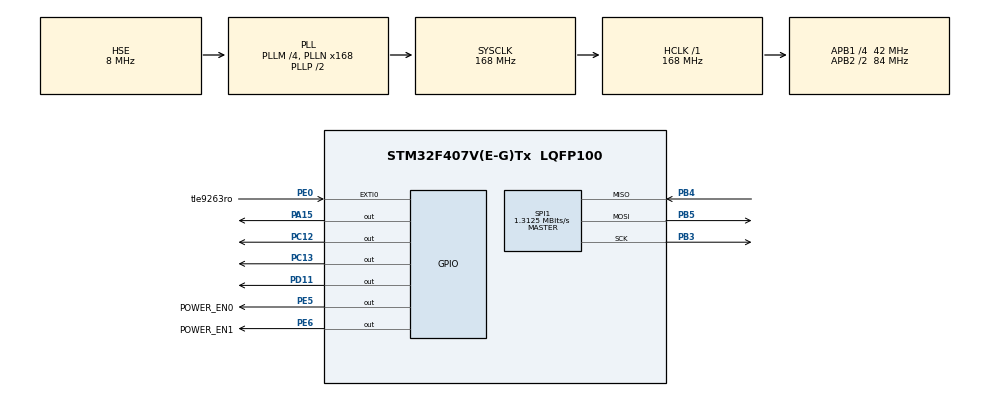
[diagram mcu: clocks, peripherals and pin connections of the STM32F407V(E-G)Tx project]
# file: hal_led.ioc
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Mcu.Family=STM32F4
Mcu.Name=STM32F407V(E-G)Tx
Mcu.Package=LQFP100
NVIC.PriorityGroup=NVIC_PRIORITYGROUP_4
PA13.Mode=Serial_Wire
PA13.Signal=SYS_JTMS-SWDIO
PA14.Mode=Serial_Wire
PA14.Signal=SYS_JTCK-SWCLK
PA15.Signal=GPIO_Output
PB3.Mode=Full_Duplex_Master
PB3.Signal=SPI1_SCK
PB4.Mode=Full_Duplex_Master
PB4.Signal=SPI1_MISO
PB5.Mode=Full_Duplex_Master
PB5.Signal=SPI1_MOSI
PC12.Signal=GPIO_Output
PC13-ANTI_TAMP.Signal=GPIO_Output
PC14-OSC32_IN.Mode=LSE-External-Oscillator
PC14-OSC32_IN.Signal=RCC_OSC32_IN
PC15-OSC32_OUT.Mode=LSE-External-Oscillator
PC15-OSC32_OUT.Signal=RCC_OSC32_OUT
PD11.Signal=GPIO_Output
PE0.GPIO_Label=tle9263ro
PE0.GPIO_ModeDefaultEXTI=GPIO_MODE_IT_FALLING
PE0.Signal=GPXTI0
PE5.GPIO_Label=POWER_EN0
PE5.Signal=GPIO_Output
PE6.GPIO_Label=POWER_EN1
PE6.Signal=GPIO_Output
PH0-OSC_IN.Mode=HSE-External-Oscillator
PH0-OSC_IN.Signal=RCC_OSC_IN
PH1-OSC_OUT.Mode=HSE-External-Oscillator
PH1-OSC_OUT.Signal=RCC_OSC_OUT
ProjectManager.HeapSize=0x200
ProjectManager.StackSize=0x400
ProjectManager.TargetToolchain=MDK-ARM V5.32
RCC.48MHZClocksFreq_Value=84000000
RCC.AHBFreq_Value=168000000
RCC.APB1CLKDivider=RCC_HCLK_DIV4
RCC.APB1Freq_Value=42000000
RCC.APB1TimFreq_Value=84000000
RCC.APB2CLKDivider=RCC_HCLK_DIV2
RCC.APB2Freq_Value=84000000
RCC.APB2TimFreq_Value=168000000
RCC.CortexFreq_Value=168000000
RCC.HCLKFreq_Value=168000000
RCC.HSE_VALUE=8000000
RCC.HSI_VALUE=16000000
RCC.PLLM=4
RCC.PLLN=168
RCC.PLLSourceVirtual=RCC_PLLSOURCE_HSE
RCC.SYSCLKFreq_VALUE=168000000
RCC.SYSCLKSource=RCC_SYSCLKSOURCE_PLLCLK
RCC.VCOOutputFreq_Value=336000000
SPI1.BaudRatePrescaler=SPI_BAUDRATEPRESCALER_64
SPI1.CLKPhase=SPI_PHASE_2EDGE
SPI1.CalculateBaudRate=1.3125 MBits/s
SPI1.DataSize=SPI_DATASIZE_16BIT
SPI1.Direction=SPI_DIRECTION_2LINES
SPI1.FirstBit=SPI_FIRSTBIT_LSB
SPI1.Mode=SPI_MODE_MASTER
SPI1.VirtualType=VM_MASTER
board=custom

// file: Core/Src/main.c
/* USER CODE BEGIN Header */
/**
  ******************************************************************************
  * @file           : main.c
  * @brief          : Main program body
  ******************************************************************************
  * @attention
  *
  * Copyright (c) 2025 STMicroelectronics.
  * All rights reserved.
  *
  * This software is licensed under terms that can be found in the LICENSE file
  * in the root directory of this software component.
  * If no LICENSE file comes with this software, it is provided AS-IS.
  *
  ******************************************************************************
  */
/* USER CODE END Header */
#include "main.h"
#include "spi.h"
#include "gpio.h"
#include"TLE926x.h"
#include <stdbool.h>

/* USER CODE BEGIN PV */
bool irqSBC = false;
/* USER CODE END PV */

void SystemClock_Config(void);

/* USER CODE BEGIN 0 */
void irqSBC_Handler()
{
  irqSBC = true ;
}
/* USER CODE END 0 */

int main(void)
{

  /* MCU Configuration--------------------------------------------------------*/

  /* Reset of all peripherals, Initializes the Flash interface and the Systick. */
  HAL_Init();

  /* Configure the system clock */
  SystemClock_Config();

  /* Initialize all configured peripherals */
  MX_GPIO_Init();
  MX_SPI1_Init();

  /* Infinite loop */
  /* USER CODE BEGIN WHILE */

  if (sbc_init().flippedBitsMask != 0) {
    HAL_GPIO_WritePin(GPIOC, GPIO_PIN_13, GPIO_PIN_SET);//LED off
  } else {
    HAL_GPIO_WritePin(GPIOC, GPIO_PIN_13, GPIO_PIN_RESET);//LED on
	HAL_Delay(2000);
  }

  HAL_GPIO_WritePin(GPIOC, GPIO_PIN_12, GPIO_PIN_SET);//GPIO_PIN_RESET  low
  sbc_configure_watchdog(TIME_OUT_WD, WD_STARTS_AFTER_CAN_LIN_WAKE, WD_200MS);
  HAL_GPIO_WritePin(GPIOD, GPIO_PIN_11, GPIO_PIN_SET);//jidianqi
  HAL_GPIO_WritePin(GPIOE, POWER_EN0_Pin,GPIO_PIN_SET );//jidianqi
  HAL_GPIO_WritePin(GPIOE, POWER_EN1_Pin,GPIO_PIN_SET );//jidianqi
  while (1)
  {
  HAL_GPIO_TogglePin(GPIOC, GPIO_PIN_13);//led
  HAL_GPIO_TogglePin(GPIOD, GPIO_PIN_11);//jidianqi
  sbc_wd_trigger();
  HAL_Delay(1000);

   /* Handle SBC_ISR() if INTN was toggeled */
//  if (irqSBC) {
//    SBC_ISR();
//    irqSBC = false;
//  }

    /* USER CODE END WHILE */

  }
}

void SystemClock_Config(void)
{
  RCC_OscInitTypeDef RCC_OscInitStruct = {0};
  RCC_ClkInitTypeDef RCC_ClkInitStruct = {0};

  /** Configure the main internal regulator output voltage
  */
  __HAL_RCC_PWR_CLK_ENABLE();
  __HAL_PWR_VOLTAGESCALING_CONFIG(PWR_REGULATOR_VOLTAGE_SCALE1);

  /** Initializes the RCC Oscillators according to the specified parameters
  * in the RCC_OscInitTypeDef structure.
  */
  RCC_OscInitStruct.OscillatorType = RCC_OSCILLATORTYPE_HSE;
  RCC_OscInitStruct.HSEState = RCC_HSE_ON;
  RCC_OscInitStruct.PLL.PLLState = RCC_PLL_ON;
  RCC_OscInitStruct.PLL.PLLSource = RCC_PLLSOURCE_HSE;
  RCC_OscInitStruct.PLL.PLLM = 4;
  RCC_OscInitStruct.PLL.PLLN = 168;
  RCC_OscInitStruct.PLL.PLLP = RCC_PLLP_DIV2;
  RCC_OscInitStruct.PLL.PLLQ = 4;
  if (HAL_RCC_OscConfig(&RCC_OscInitStruct) != HAL_OK)
  {
    Error_Handler();
  }

  /** Initializes the CPU, AHB and APB buses clocks
  */
  RCC_ClkInitStruct.ClockType = RCC_CLOCKTYPE_HCLK|RCC_CLOCKTYPE_SYSCLK
                              |RCC_CLOCKTYPE_PCLK1|RCC_CLOCKTYPE_PCLK2;
  RCC_ClkInitStruct.SYSCLKSource = RCC_SYSCLKSOURCE_PLLCLK;
  RCC_ClkInitStruct.AHBCLKDivider = RCC_SYSCLK_DIV1;
  RCC_ClkInitStruct.APB1CLKDivider = RCC_HCLK_DIV4;
  RCC_ClkInitStruct.APB2CLKDivider = RCC_HCLK_DIV2;

  if (HAL_RCC_ClockConfig(&RCC_ClkInitStruct, FLASH_LATENCY_5) != HAL_OK)
  {
    Error_Handler();
  }
}

void Error_Handler(void)
{
  __disable_irq();
  while (1)
  {
  }
}
